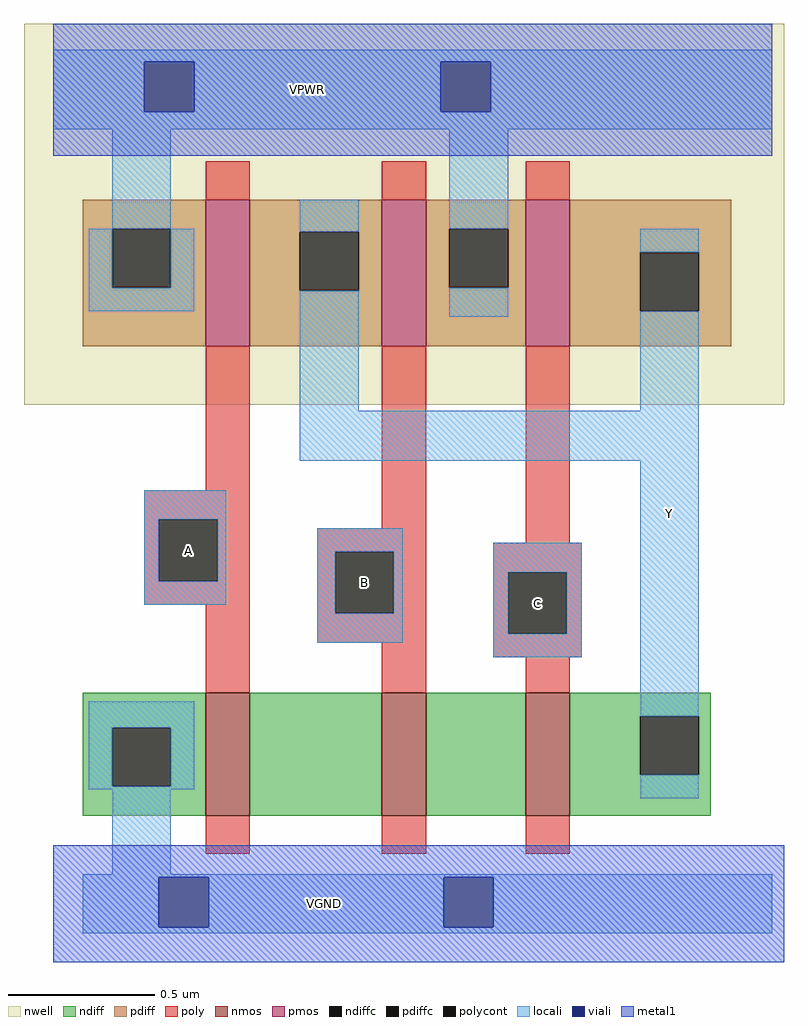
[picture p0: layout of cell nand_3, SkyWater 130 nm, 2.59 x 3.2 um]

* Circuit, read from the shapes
.subckt nand_3 A VPWR VGND B C Y
XM1 n1 A VGND VSUBS sky130_fd_pr__nfet_01v8 w=0.42 l=0.15
XM2 n2 B n1 VSUBS sky130_fd_pr__nfet_01v8 w=0.42 l=0.15
XM3 Y C n2 VSUBS sky130_fd_pr__nfet_01v8 w=0.42 l=0.15
XM4 Y A VPWR n3 sky130_fd_pr__pfet_01v8 w=0.5 l=0.15
XM5 VPWR B Y n3 sky130_fd_pr__pfet_01v8 w=0.5 l=0.15
XM6 Y C VPWR n3 sky130_fd_pr__pfet_01v8 w=0.5 l=0.15
.ends

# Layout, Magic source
magic
tech sky130A
<< nwell >>
rect -10 170 249 300
<< nmos >>
rect 52 30 67 72
rect 112 30 127 72
rect 161 30 176 72
<< pmos >>
rect 52 190 67 240
rect 112 190 127 240
rect 161 190 176 240
<< ndiff >>
rect 10 60 52 72
rect 10 40 20 60
rect 40 40 52 60
rect 10 30 52 40
rect 67 30 112 72
rect 127 30 161 72
rect 176 64 224 72
rect 176 44 200 64
rect 220 44 224 64
rect 176 30 224 44
<< pdiff >>
rect 10 230 52 240
rect 10 210 20 230
rect 40 210 52 230
rect 10 190 52 210
rect 67 229 112 240
rect 67 209 84 229
rect 104 209 112 229
rect 67 190 112 209
rect 127 230 161 240
rect 127 210 135 230
rect 155 210 161 230
rect 127 190 161 210
rect 176 222 231 240
rect 176 202 200 222
rect 220 202 231 222
rect 176 190 231 202
<< ndiffc >>
rect 20 40 40 60
rect 200 44 220 64
<< pdiffc >>
rect 20 210 40 230
rect 84 209 104 229
rect 135 210 155 230
rect 200 202 220 222
<< poly >>
rect 52 240 67 253
rect 112 240 127 253
rect 161 240 176 253
rect 52 141 67 190
rect 31 131 67 141
rect 31 110 36 131
rect 56 110 67 131
rect 112 128 127 190
rect 31 102 67 110
rect 52 72 67 102
rect 90 120 127 128
rect 161 123 176 190
rect 90 99 96 120
rect 116 99 127 120
rect 90 89 127 99
rect 112 72 127 89
rect 150 113 180 123
rect 150 92 155 113
rect 175 92 180 113
rect 150 84 180 92
rect 161 72 176 84
rect 52 17 67 30
rect 112 17 127 30
rect 161 17 176 30
<< polycont >>
rect 36 110 56 131
rect 96 99 116 120
rect 155 92 175 113
<< locali >>
rect 0 287 245 291
rect 0 270 31 287
rect 48 270 132 287
rect 149 270 245 287
rect 0 264 245 270
rect 20 230 40 264
rect 12 210 20 230
rect 40 210 48 230
rect 12 202 48 210
rect 84 229 104 240
rect 84 168 104 209
rect 135 230 155 264
rect 135 200 155 210
rect 200 222 220 230
rect 200 168 220 202
rect 84 151 220 168
rect 31 131 59 141
rect 31 110 36 131
rect 56 110 59 131
rect 31 102 59 110
rect 90 120 119 128
rect 90 99 96 120
rect 116 99 119 120
rect 90 89 119 99
rect 150 113 180 123
rect 150 92 155 113
rect 175 92 180 113
rect 150 84 180 92
rect 12 60 48 69
rect 12 40 20 60
rect 40 40 48 60
rect 12 39 48 40
rect 200 64 220 151
rect 20 10 40 39
rect 200 36 220 44
rect 10 9 245 10
rect 10 -8 36 9
rect 53 -8 133 9
rect 150 -8 245 9
rect 10 -10 245 -8
<< viali >>
rect 31 270 48 287
rect 132 270 149 287
rect 36 -8 53 9
rect 133 -8 150 9
<< metal1 >>
rect 0 287 245 300
rect 0 270 31 287
rect 48 270 132 287
rect 149 270 245 287
rect 0 255 245 270
rect 0 9 249 20
rect 0 -8 36 9
rect 53 -8 133 9
rect 150 -8 249 9
rect 0 -20 249 -8
<< labels >>
flabel polycont 36 110 56 131 0 FreeSans 120 0 0 0 A
port 0 nsew signal input
flabel locali 0 264 173 291 0 FreeSans 120 0 0 0 VPWR
port 3 nsew power bidirectional
flabel locali 10 -10 175 10 0 FreeSans 120 0 0 0 VGND
port 4 nsew ground bidirectional
flabel polycont 96 99 116 120 0 FreeSans 120 0 0 0 B
port 5 nsew signal input
flabel polycont 155 92 175 113 0 FreeSans 120 0 0 0 C
port 7 nsew signal input
flabel locali 200 64 220 202 0 FreeSans 120 0 0 0 Y
port 8 nsew signal output
<< properties >>
string FIXED_BBOX 0 0 175 278
<< end >>
